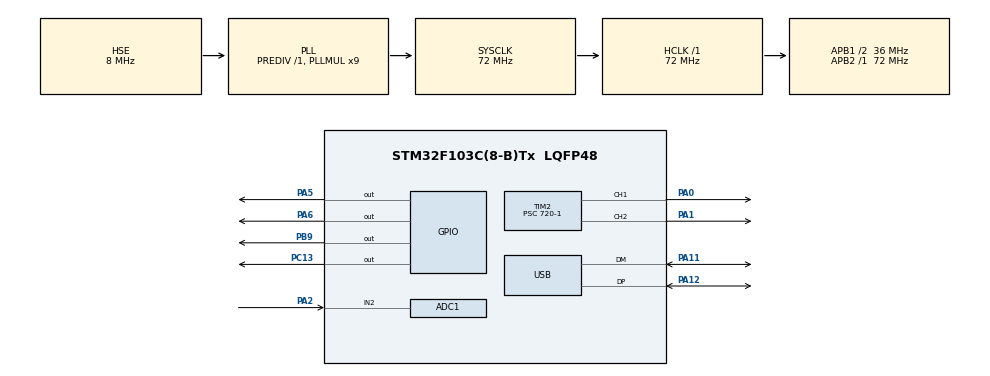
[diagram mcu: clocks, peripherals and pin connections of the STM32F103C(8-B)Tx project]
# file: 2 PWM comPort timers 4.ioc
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ADC1.Channel-13\#ChannelRegularConversion=ADC_CHANNEL_2
ADC1.ContinuousConvMode=DISABLE
ADC1.DataAlign=ADC_DATAALIGN_RIGHT
ADC1.DiscontinuousConvMode=DISABLE
ADC1.EnableAnalogWatchDog=false
ADC1.EnableRegularConversion=ENABLE
ADC1.ExternalTrigConv=ADC_SOFTWARE_START
ADC1.InjNumberOfConversion=0
ADC1.NbrOfConversion=1
ADC1.NbrOfConversionFlag=1
ADC1.Rank-13\#ChannelRegularConversion=1
ADC1.SamplingTime-13\#ChannelRegularConversion=ADC_SAMPLETIME_239CYCLES_5
ADC1.ScanConvMode=ADC_SCAN_DISABLE
ADC1.master=1
Dma.ADC1.0.Direction=DMA_PERIPH_TO_MEMORY
Dma.ADC1.0.Instance=DMA1_Channel1
Dma.ADC1.0.MemDataAlignment=DMA_MDATAALIGN_WORD
Dma.ADC1.0.MemInc=DMA_MINC_ENABLE
Dma.ADC1.0.Mode=DMA_NORMAL
Dma.ADC1.0.PeriphDataAlignment=DMA_PDATAALIGN_WORD
Dma.ADC1.0.PeriphInc=DMA_PINC_DISABLE
Dma.ADC1.0.Priority=DMA_PRIORITY_LOW
Dma.Request0=ADC1
Mcu.Family=STM32F1
Mcu.Name=STM32F103C(8-B)Tx
Mcu.Package=LQFP48
NVIC.ADC1_2_IRQn=true\:0\:0\:false\:false\:true\:true
NVIC.DMA1_Channel1_IRQn=true\:0\:0\:false\:false\:true\:false
NVIC.PriorityGroup=NVIC_PRIORITYGROUP_4
NVIC.TIM3_IRQn=true\:0\:0\:false\:false\:true\:true
NVIC.TIM4_IRQn=true\:0\:0\:false\:false\:true\:true
NVIC.USB_LP_CAN1_RX0_IRQn=true\:0\:0\:false\:false\:true\:false
PA0-WKUP.GPIO_Speed=GPIO_SPEED_FREQ_HIGH
PA0-WKUP.Signal=S_TIM2_CH1_ETR
PA1.GPIO_Speed=GPIO_SPEED_FREQ_HIGH
PA1.Signal=S_TIM2_CH2
PA11.Mode=Device
PA11.Signal=USB_DM
PA12.Mode=Device
PA12.Signal=USB_DP
PA2.Signal=ADCx_IN2
PA5.Signal=GPIO_Output
PA6.Signal=GPIO_Output
PB9.Signal=GPIO_Output
PC13-TAMPER-RTC.Signal=GPIO_Output
PD0-OSC_IN.Mode=HSE-External-Oscillator
PD0-OSC_IN.Signal=RCC_OSC_IN
PD1-OSC_OUT.Mode=HSE-External-Oscillator
PD1-OSC_OUT.Signal=RCC_OSC_OUT
ProjectManager.HeapSize=0x200
ProjectManager.StackSize=0x400
ProjectManager.TargetToolchain=MDK-ARM V5
RCC.ADCPresc=RCC_ADCPCLK2_DIV6
RCC.AHBFreq_Value=72000000
RCC.APB1CLKDivider=RCC_HCLK_DIV2
RCC.APB1Freq_Value=36000000
RCC.APB1TimFreq_Value=72000000
RCC.APB2Freq_Value=72000000
RCC.APB2TimFreq_Value=72000000
RCC.HCLKFreq_Value=72000000
RCC.PLLMUL=RCC_PLL_MUL9
RCC.SYSCLKFreq_VALUE=72000000
RCC.SYSCLKSource=RCC_SYSCLKSOURCE_PLLCLK
RCC.USBFreq_Value=48000000
RCC.USBPrescaler=RCC_USBCLKSOURCE_PLL_DIV1_5
SH.ADCx_IN2.0=ADC1_IN2,IN2
SH.S_TIM2_CH1_ETR.0=TIM2_CH1,PWM Generation1 CH1
SH.S_TIM2_CH2.0=TIM2_CH2,PWM Generation2 CH2
TIM2.Channel-PWM\ Generation1\ CH1=TIM_CHANNEL_1
TIM2.Channel-PWM\ Generation2\ CH2=TIM_CHANNEL_2
TIM2.OCFastMode_PWM-PWM\ Generation1\ CH1=TIM_OCFAST_ENABLE
TIM2.OCFastMode_PWM-PWM\ Generation2\ CH2=TIM_OCFAST_ENABLE
TIM2.Period=64-1
TIM2.Prescaler=720-1
TIM3.Period=1
TIM3.Prescaler=3600-1
TIM4.ClockDivision=TIM_CLOCKDIVISION_DIV1
TIM4.Period=1
TIM4.Prescaler=36000-1
USB_DEVICE.CLASS_NAME_FS=CDC
USB_DEVICE.VirtualMode=Cdc
USB_DEVICE.VirtualModeFS=Cdc_FS
VP_SYS_VS_ND.Mode=No_Debug
VP_TIM2_VS_ClockSourceINT.Mode=Internal
VP_TIM3_VS_ClockSourceINT.Mode=Internal
VP_TIM4_VS_ClockSourceINT.Mode=Internal
VP_USB_DEVICE_VS_USB_DEVICE_CDC_FS.Mode=CDC_FS
board=2 PWM comPort timers 4

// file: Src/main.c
/**
  ******************************************************************************
  * @file           : main.c
  * @brief          : Main program body
  ******************************************************************************
  * This notice applies to any and all portions of this file
  * that are not between comment pairs USER CODE BEGIN and
  * USER CODE END. Other portions of this file, whether
  * inserted by the user or by software development tools
  * are owned by their respective copyright owners.
  *
  * Copyright (c) 2020 STMicroelectronics International N.V.
  * All rights reserved.
  *
  * Redistribution and use in source and binary forms, with or without
  * modification, are permitted, provided that the following conditions are met:
  *
  * 1. Redistribution of source code must retain the above copyright notice,
  *    this list of conditions and the following disclaimer.
  * 2. Redistributions in binary form must reproduce the above copyright notice,
  *    this list of conditions and the following disclaimer in the documentation
  *    and/or other materials provided with the distribution.
  * 3. Neither the name of STMicroelectronics nor the names of other
  *    contributors to this software may be used to endorse or promote products
  *    derived from this software without specific written permission.
  * 4. This software, including modifications and/or derivative works of this
  *    software, must execute solely and exclusively on microcontroller or
  *    microprocessor devices manufactured by or for STMicroelectronics.
  * 5. Redistribution and use of this software other than as permitted under
  *    this license is void and will automatically terminate your rights under
  *    this license.
  *
  * THIS SOFTWARE IS PROVIDED BY STMICROELECTRONICS AND CONTRIBUTORS "AS IS"
  * AND ANY EXPRESS, IMPLIED OR STATUTORY WARRANTIES, INCLUDING, BUT NOT
  * LIMITED TO, THE IMPLIED WARRANTIES OF MERCHANTABILITY, FITNESS FOR A
  * PARTICULAR PURPOSE AND NON-INFRINGEMENT OF THIRD PARTY INTELLECTUAL PROPERTY
  * RIGHTS ARE DISCLAIMED TO THE FULLEST EXTENT PERMITTED BY LAW. IN NO EVENT
  * SHALL STMICROELECTRONICS OR CONTRIBUTORS BE LIABLE FOR ANY DIRECT, INDIRECT,
  * INCIDENTAL, SPECIAL, EXEMPLARY, OR CONSEQUENTIAL DAMAGES (INCLUDING, BUT NOT
  * LIMITED TO, PROCUREMENT OF SUBSTITUTE GOODS OR SERVICES; LOSS OF USE, DATA,
  * OR PROFITS; OR BUSINESS INTERRUPTION) HOWEVER CAUSED AND ON ANY THEORY OF
  * LIABILITY, WHETHER IN CONTRACT, STRICT LIABILITY, OR TORT (INCLUDING
  * NEGLIGENCE OR OTHERWISE) ARISING IN ANY WAY OUT OF THE USE OF THIS SOFTWARE,
  * EVEN IF ADVISED OF THE POSSIBILITY OF SUCH DAMAGE.
  *
  ******************************************************************************
  */
#include "main.h"
#include "stm32f1xx_hal.h"
#include "usb_device.h"

/* USER CODE BEGIN Includes */
#include "usbd_cdc_if.h"
#include "SinGenerator.h"
#include <math.h>

/* Overall description
    TIM2 generates PWM output from A0&A1|A0
    TIM3 takts sinGenerator
    TIM4 starts ADC from A2
*/
/* USER CODE END Includes */

ADC_HandleTypeDef hadc1;
DMA_HandleTypeDef hdma_adc1;

TIM_HandleTypeDef htim2;
TIM_HandleTypeDef htim3;
TIM_HandleTypeDef htim4;

/* USER CODE BEGIN PV */
/* Private variables ---------------------------------------------------------*/
int counter=0, teleCounter=0;
uint32_t sinTicksLastZero=0, sinTicksDelay=0;
//_Bool sinSignChange=0;
_Bool filterApFlag=1;//aperiodic filter 1/ts+1, where t=1/5*sinFreq
_Bool teleFlag=0;
_Bool telePhaseFlag=0;//enable or disable telemetry for phase
_Bool sinTicksDelayChanged=0;
int32_t inVal=0, inValPrev=0, inValZero=4096/2;
short unsigned int teleDAIgnore=0;
volatile int sinVal=0;
uint32_t ADC_Buf=0;
_Bool filterDiscrFlag=0;//discrete filter *discFilt state

volatile uint32_t ampValMax=0, ampValMin=4096;// amplitude
uint32_t amp2send=0;
uint32_t ampSendSinTCount=0;

volatile struct DiscrFilt *discFilt;
volatile struct SinGener *sinGen;
_Bool sinValChanged, sinSignChanged;

/*
//temp!!!
int vals[26];
volatile unsigned int indSin=0, indSinLen=26;
volatile unsigned int indTick, indTickMax;
double sinFreqRad=1, sinFreqHz, waveFreqHz;
unsigned int sinAmp;
char indQuad=0;//0:[0 pi/2] 1:[pi/2 pi] 2:[pi 3pi/4] 3:[3pi/4 2pi]
//temp
*/
/* USER CODE END PV */

void SystemClock_Config(void);
static void MX_GPIO_Init(void);
static void MX_DMA_Init(void);
static void MX_TIM2_Init(void);
static void MX_ADC1_Init(void);
static void MX_TIM3_Init(void);
static void MX_TIM4_Init(void);

void HAL_TIM_MspPostInit(TIM_HandleTypeDef *htim);

/* USER CODE BEGIN PFP */
/* Private function prototypes -----------------------------------------------*/
void Main_FilterApConfig(void);
void Main_FilterApSetState(_Bool state);
void Main_TeleSetState(_Bool state);
void Main_TelePhaseSetState(_Bool state);
void setPWM(uint16_t);
void Main_FindValZero(unsigned int timeMs);
void Main_delayUS(uint32_t us);
void Main_teleSendValue(void);
void Main_teleSendDA(void);
void Main_teleSendDAValue(void);
void Main_setPWMMode(int mode);

//void Main_FilterKihConfig(void);

//void Main_SinTimerReconfig(void);

_Bool Main_PWMPrescSet(unsigned int prescIn);
_Bool Main_FilterDiscrSetState(_Bool state);
void Main_setCustomSignal(double *arr, unsigned int len);
void Main_setDefaultSignal(void);
void Main_setPulseMin(double percent);
/* USER CODE END PFP */

int main(void)
{

  /* MCU Configuration----------------------------------------------------------*/

  /* Reset of all peripherals, Initializes the Flash interface and the Systick. */
  HAL_Init();

  /* Configure the system clock */
  SystemClock_Config();

  /* USER CODE BEGIN SysInit */
    /*
    CoreDebug->DEMCR |= CoreDebug_DEMCR_TRCENA_Msk;
    DWT->CYCCNT = 0;
    DWT->CTRL |= DWT_CTRL_CYCCNTENA_Msk;

    unsigned long t1 = DWT->CYCCNT;
    */
  /* USER CODE END SysInit */

  /* Initialize all configured peripherals */
  MX_GPIO_Init();
  MX_DMA_Init();
  MX_USB_DEVICE_Init();
  MX_TIM2_Init();
  MX_ADC1_Init();
  MX_TIM3_Init();
  MX_TIM4_Init();
  /* USER CODE BEGIN 2 */

    TIM2->CCR1=0;

    while(HAL_ADCEx_Calibration_Start(&hadc1) != HAL_OK);//- калибровка ацп

    //tim2 is used for PWM
    HAL_TIM_PWM_Start(&htim2, TIM_CHANNEL_1);
    HAL_TIM_PWM_Start(&htim2, TIM_CHANNEL_2);

    HAL_GPIO_WritePin(GPIOA, GPIO_PIN_6,GPIO_PIN_SET);//polarity of signal indicator

    //tim3 is used to generate sin wave
    sinGen=SinGener_new(TIM3, TIM2);
    discFilt=discrFilt_new();

    //tim4 is used for adc, and, therefore for filtation at each tick

    HAL_TIM_Base_Start_IT(&htim3);

    HAL_TIM_Base_Start_IT(&htim4);

    /*
    //temp!!
    double step=(acos(-1))/(2*indSinLen);// (pi/2)/len
    sinAmp=TIM2->ARR + 1;
    for(int i=0; i<indSinLen;++i){
        vals[i]=round(sinAmp*sin(step*i));
        vals[i]=abs(vals[i]);
    }
    sinFreqHz=sinFreqRad/(2*acos(-1));// v=w/(2pi)
    waveFreqHz=4*indSinLen*sinFreqHz;//4*len*v

    double timerFreqHz=((double)72e6)/
        (
            (TIM3->PSC+1)*
            (TIM3->ARR+1)*
            (TIM3->RCR+1)
        );

    indTickMax=round(timerFreqHz/waveFreqHz);
    //temp
    */

  /* USER CODE END 2 */

  /* Infinite loop */
  while (1)
  {

  }

}

void SystemClock_Config(void)
{

  RCC_OscInitTypeDef RCC_OscInitStruct;
  RCC_ClkInitTypeDef RCC_ClkInitStruct;
  RCC_PeriphCLKInitTypeDef PeriphClkInit;

    /**Initializes the CPU, AHB and APB busses clocks
    */
  RCC_OscInitStruct.OscillatorType = RCC_OSCILLATORTYPE_HSE;
  RCC_OscInitStruct.HSEState = RCC_HSE_ON;
  RCC_OscInitStruct.HSEPredivValue = RCC_HSE_PREDIV_DIV1;
  RCC_OscInitStruct.HSIState = RCC_HSI_ON;
  RCC_OscInitStruct.PLL.PLLState = RCC_PLL_ON;
  RCC_OscInitStruct.PLL.PLLSource = RCC_PLLSOURCE_HSE;
  RCC_OscInitStruct.PLL.PLLMUL = RCC_PLL_MUL9;
  if (HAL_RCC_OscConfig(&RCC_OscInitStruct) != HAL_OK)
  {
    _Error_Handler(__FILE__, __LINE__);
  }

    /**Initializes the CPU, AHB and APB busses clocks
    */
  RCC_ClkInitStruct.ClockType = RCC_CLOCKTYPE_HCLK|RCC_CLOCKTYPE_SYSCLK
                              |RCC_CLOCKTYPE_PCLK1|RCC_CLOCKTYPE_PCLK2;
  RCC_ClkInitStruct.SYSCLKSource = RCC_SYSCLKSOURCE_PLLCLK;
  RCC_ClkInitStruct.AHBCLKDivider = RCC_SYSCLK_DIV1;
  RCC_ClkInitStruct.APB1CLKDivider = RCC_HCLK_DIV2;
  RCC_ClkInitStruct.APB2CLKDivider = RCC_HCLK_DIV1;

  if (HAL_RCC_ClockConfig(&RCC_ClkInitStruct, FLASH_LATENCY_2) != HAL_OK)
  {
    _Error_Handler(__FILE__, __LINE__);
  }

  PeriphClkInit.PeriphClockSelection = RCC_PERIPHCLK_ADC|RCC_PERIPHCLK_USB;
  PeriphClkInit.AdcClockSelection = RCC_ADCPCLK2_DIV6;
  PeriphClkInit.UsbClockSelection = RCC_USBCLKSOURCE_PLL_DIV1_5;
  if (HAL_RCCEx_PeriphCLKConfig(&PeriphClkInit) != HAL_OK)
  {
    _Error_Handler(__FILE__, __LINE__);
  }

    /**Configure the Systick interrupt time
    */
  HAL_SYSTICK_Config(HAL_RCC_GetHCLKFreq()/1000);

    /**Configure the Systick
    */
  HAL_SYSTICK_CLKSourceConfig(SYSTICK_CLKSOURCE_HCLK);

  /* SysTick_IRQn interrupt configuration */
  HAL_NVIC_SetPriority(SysTick_IRQn, 0, 0);
}

/* ADC1 init function */
static void MX_ADC1_Init(void)
{

  ADC_ChannelConfTypeDef sConfig;

    /**Common config
    */
  hadc1.Instance = ADC1;
  hadc1.Init.ScanConvMode = ADC_SCAN_DISABLE;
  hadc1.Init.ContinuousConvMode = DISABLE;
  hadc1.Init.DiscontinuousConvMode = DISABLE;
  hadc1.Init.ExternalTrigConv = ADC_SOFTWARE_START;
  hadc1.Init.DataAlign = ADC_DATAALIGN_RIGHT;
  hadc1.Init.NbrOfConversion = 1;
  if (HAL_ADC_Init(&hadc1) != HAL_OK)
  {
    _Error_Handler(__FILE__, __LINE__);
  }

    /**Configure Regular Channel
    */
  sConfig.Channel = ADC_CHANNEL_2;
  sConfig.Rank = ADC_REGULAR_RANK_1;
  sConfig.SamplingTime = ADC_SAMPLETIME_239CYCLES_5;
  if (HAL_ADC_ConfigChannel(&hadc1, &sConfig) != HAL_OK)
  {
    _Error_Handler(__FILE__, __LINE__);
  }

}

/* TIM2 init function */
static void MX_TIM2_Init(void)
{

  TIM_ClockConfigTypeDef sClockSourceConfig;
  TIM_MasterConfigTypeDef sMasterConfig;
  TIM_OC_InitTypeDef sConfigOC;

  htim2.Instance = TIM2;
  htim2.Init.Prescaler = 720-1;
  htim2.Init.CounterMode = TIM_COUNTERMODE_UP;
  htim2.Init.Period = 64-1;
  htim2.Init.ClockDivision = TIM_CLOCKDIVISION_DIV1;
  htim2.Init.AutoReloadPreload = TIM_AUTORELOAD_PRELOAD_DISABLE;
  if (HAL_TIM_Base_Init(&htim2) != HAL_OK)
  {
    _Error_Handler(__FILE__, __LINE__);
  }

  sClockSourceConfig.ClockSource = TIM_CLOCKSOURCE_INTERNAL;
  if (HAL_TIM_ConfigClockSource(&htim2, &sClockSourceConfig) != HAL_OK)
  {
    _Error_Handler(__FILE__, __LINE__);
  }

  if (HAL_TIM_PWM_Init(&htim2) != HAL_OK)
  {
    _Error_Handler(__FILE__, __LINE__);
  }

  sMasterConfig.MasterOutputTrigger = TIM_TRGO_RESET;
  sMasterConfig.MasterSlaveMode = TIM_MASTERSLAVEMODE_DISABLE;
  if (HAL_TIMEx_MasterConfigSynchronization(&htim2, &sMasterConfig) != HAL_OK)
  {
    _Error_Handler(__FILE__, __LINE__);
  }

  sConfigOC.OCMode = TIM_OCMODE_PWM1;
  sConfigOC.Pulse = 0;
  sConfigOC.OCPolarity = TIM_OCPOLARITY_HIGH;
  sConfigOC.OCFastMode = TIM_OCFAST_ENABLE;
  if (HAL_TIM_PWM_ConfigChannel(&htim2, &sConfigOC, TIM_CHANNEL_1) != HAL_OK)
  {
    _Error_Handler(__FILE__, __LINE__);
  }

  if (HAL_TIM_PWM_ConfigChannel(&htim2, &sConfigOC, TIM_CHANNEL_2) != HAL_OK)
  {
    _Error_Handler(__FILE__, __LINE__);
  }

  HAL_TIM_MspPostInit(&htim2);

}

/* TIM3 init function */
static void MX_TIM3_Init(void)
{

  TIM_ClockConfigTypeDef sClockSourceConfig;
  TIM_MasterConfigTypeDef sMasterConfig;

  htim3.Instance = TIM3;
  htim3.Init.Prescaler = 3600-1;
  htim3.Init.CounterMode = TIM_COUNTERMODE_UP;
  htim3.Init.Period = 1;
  htim3.Init.ClockDivision = TIM_CLOCKDIVISION_DIV1;
  htim3.Init.AutoReloadPreload = TIM_AUTORELOAD_PRELOAD_DISABLE;
  if (HAL_TIM_Base_Init(&htim3) != HAL_OK)
  {
    _Error_Handler(__FILE__, __LINE__);
  }

  sClockSourceConfig.ClockSource = TIM_CLOCKSOURCE_INTERNAL;
  if (HAL_TIM_ConfigClockSource(&htim3, &sClockSourceConfig) != HAL_OK)
  {
    _Error_Handler(__FILE__, __LINE__);
  }

  sMasterConfig.MasterOutputTrigger = TIM_TRGO_RESET;
  sMasterConfig.MasterSlaveMode = TIM_MASTERSLAVEMODE_DISABLE;
  if (HAL_TIMEx_MasterConfigSynchronization(&htim3, &sMasterConfig) != HAL_OK)
  {
    _Error_Handler(__FILE__, __LINE__);
  }

}

/* TIM4 init function */
static void MX_TIM4_Init(void)
{

  TIM_ClockConfigTypeDef sClockSourceConfig;
  TIM_MasterConfigTypeDef sMasterConfig;

  htim4.Instance = TIM4;
  htim4.Init.Prescaler = 36000-1;
  htim4.Init.CounterMode = TIM_COUNTERMODE_UP;
  htim4.Init.Period = 1;
  htim4.Init.ClockDivision = TIM_CLOCKDIVISION_DIV1;
  htim4.Init.AutoReloadPreload = TIM_AUTORELOAD_PRELOAD_DISABLE;
  if (HAL_TIM_Base_Init(&htim4) != HAL_OK)
  {
    _Error_Handler(__FILE__, __LINE__);
  }

  sClockSourceConfig.ClockSource = TIM_CLOCKSOURCE_INTERNAL;
  if (HAL_TIM_ConfigClockSource(&htim4, &sClockSourceConfig) != HAL_OK)
  {
    _Error_Handler(__FILE__, __LINE__);
  }

  sMasterConfig.MasterOutputTrigger = TIM_TRGO_RESET;
  sMasterConfig.MasterSlaveMode = TIM_MASTERSLAVEMODE_DISABLE;
  if (HAL_TIMEx_MasterConfigSynchronization(&htim4, &sMasterConfig) != HAL_OK)
  {
    _Error_Handler(__FILE__, __LINE__);
  }

}

static void MX_DMA_Init(void)
{
  /* DMA controller clock enable */
  __HAL_RCC_DMA1_CLK_ENABLE();

  /* DMA interrupt init */
  /* DMA1_Channel1_IRQn interrupt configuration */
  HAL_NVIC_SetPriority(DMA1_Channel1_IRQn, 0, 0);
  HAL_NVIC_EnableIRQ(DMA1_Channel1_IRQn);

}

/** Configure pins as
        * Analog
        * Input
        * Output
        * EVENT_OUT
        * EXTI
        * Free pins are configured automatically as Analog (this feature is enabled through
        * the Code Generation settings)
*/
static void MX_GPIO_Init(void)
{

  GPIO_InitTypeDef GPIO_InitStruct;

  /* GPIO Ports Clock Enable */
  __HAL_RCC_GPIOC_CLK_ENABLE();
  __HAL_RCC_GPIOD_CLK_ENABLE();
  __HAL_RCC_GPIOA_CLK_ENABLE();
  __HAL_RCC_GPIOB_CLK_ENABLE();

  /*Configure GPIO pin Output Level */
  HAL_GPIO_WritePin(GPIOC, GPIO_PIN_13, GPIO_PIN_RESET);

  /*Configure GPIO pin Output Level */
  HAL_GPIO_WritePin(GPIOA, GPIO_PIN_5|GPIO_PIN_6, GPIO_PIN_RESET);

  /*Configure GPIO pin Output Level */
  HAL_GPIO_WritePin(GPIOB, GPIO_PIN_9, GPIO_PIN_RESET);

  /*Configure GPIO pin : PC13 */
  GPIO_InitStruct.Pin = GPIO_PIN_13;
  GPIO_InitStruct.Mode = GPIO_MODE_OUTPUT_PP;
  GPIO_InitStruct.Speed = GPIO_SPEED_FREQ_LOW;
  HAL_GPIO_Init(GPIOC, &GPIO_InitStruct);

  /*Configure GPIO pins : PC14 PC15 */
  GPIO_InitStruct.Pin = GPIO_PIN_14|GPIO_PIN_15;
  GPIO_InitStruct.Mode = GPIO_MODE_ANALOG;
  HAL_GPIO_Init(GPIOC, &GPIO_InitStruct);

  /*Configure GPIO pins : PA3 PA4 PA7 PA8
                           PA9 PA10 PA13 PA14
                           PA15 */
  GPIO_InitStruct.Pin = GPIO_PIN_3|GPIO_PIN_4|GPIO_PIN_7|GPIO_PIN_8
                          |GPIO_PIN_9|GPIO_PIN_10|GPIO_PIN_13|GPIO_PIN_14
                          |GPIO_PIN_15;
  GPIO_InitStruct.Mode = GPIO_MODE_ANALOG;
  HAL_GPIO_Init(GPIOA, &GPIO_InitStruct);

  /*Configure GPIO pins : PA5 PA6 */
  GPIO_InitStruct.Pin = GPIO_PIN_5|GPIO_PIN_6;
  GPIO_InitStruct.Mode = GPIO_MODE_OUTPUT_PP;
  GPIO_InitStruct.Speed = GPIO_SPEED_FREQ_LOW;
  HAL_GPIO_Init(GPIOA, &GPIO_InitStruct);

  /*Configure GPIO pins : PB0 PB1 PB2 PB10
                           PB11 PB12 PB13 PB14
                           PB15 PB3 PB4 PB5
                           PB6 PB7 PB8 */
  GPIO_InitStruct.Pin = GPIO_PIN_0|GPIO_PIN_1|GPIO_PIN_2|GPIO_PIN_10
                          |GPIO_PIN_11|GPIO_PIN_12|GPIO_PIN_13|GPIO_PIN_14
                          |GPIO_PIN_15|GPIO_PIN_3|GPIO_PIN_4|GPIO_PIN_5
                          |GPIO_PIN_6|GPIO_PIN_7|GPIO_PIN_8;
  GPIO_InitStruct.Mode = GPIO_MODE_ANALOG;
  HAL_GPIO_Init(GPIOB, &GPIO_InitStruct);

  /*Configure GPIO pin : PB9 */
  GPIO_InitStruct.Pin = GPIO_PIN_9;
  GPIO_InitStruct.Mode = GPIO_MODE_OUTPUT_PP;
  GPIO_InitStruct.Speed = GPIO_SPEED_FREQ_LOW;
  HAL_GPIO_Init(GPIOB, &GPIO_InitStruct);

}

/* USER CODE BEGIN 4 */
void Main_Sin_SetFreq(double freqIn){
    sinGener_setSinFreqRad(sinGen, freqIn);

    if(filterApFlag){
       Main_FilterApConfig();
    }

    teleDAIgnore++;//one more time don't send amp and delay
}

void HAL_TIM_PeriodElapsedCallback(TIM_HandleTypeDef *htim){
        if(htim->Instance == TIM3){//timer 3 used for setting output voltage level
            _Bool signPositive;
            sinVal=sinGener_tick(sinGen, &sinValChanged, &sinSignChanged, &signPositive);

            if(!sinValChanged)return;

            if(sinSignChanged){//sign changed
                HAL_GPIO_WritePin(GPIOA, GPIO_PIN_6,signPositive?GPIO_PIN_SET:GPIO_PIN_RESET);//pin a6 indicates sign of signal
                HAL_GPIO_WritePin(GPIOA, GPIO_PIN_5,signPositive?GPIO_PIN_RESET:GPIO_PIN_SET);//pin a5 is inverted logical value of pin a6

                if(signPositive){
                    sinTicksLastZero=HAL_GetTick();

                //amplitude to be sended
                    amp2send=(ampValMax-ampValMin)/2;
                    ampValMax=0;
                    ampValMin=4096;
                }
            }
            return;
            /*
            //send cur sinVal
            char MesData[5];
                MesData[0]='s';
                for(int i=1;i<4;++i){
                    MesData[4-i]=sinVal%10 + '0';
                    sinVal/=10;
                }
                MesData[4]='\n';
                CDC_Transmit_FS(MesData,5);
            return;
            */
        }

        if(htim->Instance == TIM4){//timer 4 used for adc
             ++counter;
            if(counter>1){
                HAL_ADC_Start_DMA(&hadc1, &ADC_Buf, 1);
                HAL_GPIO_TogglePin(GPIOB,GPIO_PIN_9);
                counter=0;
            }
             return;
        }

}

void HAL_ADC_ConvCpltCallback(ADC_HandleTypeDef* hadc){
  if(hadc->Instance==ADC1){
      inVal=ADC_Buf-inValZero;

      if(filterApFlag){
        //Простой цифровой фильтр
        inVal=inValPrev + (20*(inVal - inValPrev)>>8);// Na + Nb = 2^k (Nb = 256 — Na); Y(n) = (Na*Y(n-1) + Nb*X(n)) >> k
        //

      }

      if(filterDiscrFlag){
        inVal=discrFilt_filt(discFilt,inVal);
      }

      if(inVal>ampValMax){
          ampValMax=abs(inVal);
      }

      if(inVal<ampValMin){
          ampValMin=inVal;
      }

      if(((inVal<0)!=(inValPrev<=0))&&inVal>0){//input sign changed to positive
          //sinTicksDelay=sinTCount*sinTiksPerTCount-sinTicksLastZero;
          sinTicksDelay=HAL_GetTick()-sinTicksLastZero;
          sinTicksDelayChanged=1;
          /*
          if(sinTCount > 2000 + ampSendSinTCount){//should be an one fouth part of a cycle, doesn't work yet
            amp2send=ampVal;
            //ampVal=0;
          }*/
      }

      inValPrev=inVal;
      ++teleCounter;

      if(teleCounter<10){//10^2 Гц частота телеметрии
          return;
      }

      if(telePhaseFlag||teleFlag){//if we have sth to send
        HAL_GPIO_TogglePin(GPIOC,GPIO_PIN_13);
        teleCounter=0;
      }
      else {
          return;
      }

      if(sinTicksDelayChanged&&telePhaseFlag){
              sinTicksDelayChanged=0;
          if(teleDAIgnore){
            --teleDAIgnore;
            if(teleFlag){
              Main_teleSendDAValue();
              return;
            }
          }

          if(teleFlag){
              Main_teleSendDAValue();
              return;
          }
              //transmit phase delay in char format with 'd' prefix and adc val also
              Main_teleSendDA();
              return;
        }

        if(teleFlag){
            Main_teleSendValue();
            return;
        }
  }
}

void Main_teleSendValue(){
    int i;
        uint8_t MesData[7];
        int32_t val=(int) round(inVal);
        MesData[6]='\0';
        MesData[5]='\n';
        MesData[0]=(val>=0)?'+':'-';
        val=abs(val);
        for(i=4;i>=1;--i){
            MesData[i]=val%10 + '0';
            val/=10;
        }
        CDC_Transmit_FS(MesData,strlen(MesData));
}

void Main_teleSendDA(){
    //transmit phase delay and amp in char format with 'd' prefix
    if(amp2send==0) return;

    int i;
    uint8_t MesData[18];
    int32_t val=sinTicksDelay;
    MesData[10]='\n';
    if(val>999999999){
        MesData[0]='D';
    }else{
        MesData[0]='d';
    }

    val=abs(val);
    for(i=9;i>=1;--i){
        MesData[i]=val%10 + '0';
        val/=10;
    }

    val=amp2send;
    MesData[17]='\0';
    MesData[16]='\n';
    if(val>9999){
        MesData[11]='A';
      }else{
        MesData[11]='a';
      }
    for(i=15;i>=12;--i){
        MesData[i]=val%10 + '0';
        val/=10;
    }
    CDC_Transmit_FS(MesData,strlen(MesData));

    amp2send=0;
}

void Main_teleSendDAValue(){
//transmit phase delay and amp in char format with 'd' prefix
    if(amp2send==0) {
        Main_teleSendValue();
        return;
    }

    int i;
    uint8_t MesData[24];//18];
    int32_t val=sinTicksDelay;
    MesData[10]='\n';
    if(val>999999999){
        MesData[0]='D';
    }else{
        MesData[0]='d';
    }

    val=abs(val);
    for(i=9;i>=1;--i){
        MesData[i]=val%10 + '0';
        val/=10;
    }

    val=amp2send;
    //MesData[17]='\0';
    MesData[16]='\n';
    if(val>9999){
        MesData[11]='A';
      }else{
        MesData[11]='a';
      }
    for(i=15;i>=12;--i){
        MesData[i]=val%10 + '0';
        val/=10;
    }

    val=(int) round(inVal);
    MesData[23]='\0';
    MesData[22]='\n';
    MesData[17]=(val>=0)?'+':'-';
    val=abs(val);
    for(i=21;i>=18;--i){
        MesData[i]=val%10 + '0';
        val/=10;
    }
    CDC_Transmit_FS(MesData,strlen(MesData));

    amp2send=0;
}

void Main_FilterApConfig(void){
    return;
}

void Main_FilterApSetState(_Bool state){
    if(state){
        Main_FilterApConfig();
        Main_FilterDiscrSetState(0);
    }
    filterApFlag=state;
}

_Bool Main_FilterDiscrSetState(_Bool state){
    if(!discrFilt_isReady(discFilt)) return 0;

    if(state){
        discrFilt_start(discFilt);
        Main_FilterApSetState(0);
    }
    else{
        discrFilt_stop(discFilt);
    }
    filterDiscrFlag=state;
    return 1;
}

void Main_TeleSetState(_Bool state){
    //HAL_GPIO_TogglePin(GPIOC,GPIO_PIN_13);
    HAL_GPIO_WritePin(GPIOC, GPIO_PIN_13,state?GPIO_PIN_SET:GPIO_PIN_RESET);//turns off LED on disabling telemetry
    teleFlag=state;
}

void Main_TelePhaseSetState(_Bool state){
    //HAL_GPIO_TogglePin(GPIOC,GPIO_PIN_13);
    HAL_GPIO_WritePin(GPIOC, GPIO_PIN_13,state?GPIO_PIN_SET:GPIO_PIN_RESET);//turns off LED on disabling telemetry
    telePhaseFlag=state;
}

_Bool Main_PWMPrescSet(unsigned int prescIn){
    if(prescIn>0xFFFF){
        return 0;
    }
    if ((HAL_TIM_PWM_Stop(&htim2, TIM_CHANNEL_1)!= HAL_OK)||
        (HAL_TIM_PWM_Stop(&htim2, TIM_CHANNEL_2)!= HAL_OK))
    {
      _Error_Handler(__FILE__, __LINE__);
        return 0;
    }

    htim2.Init.Prescaler = prescIn;

    if (HAL_TIM_Base_Init(&htim2) != HAL_OK)
  {
    _Error_Handler(__FILE__, __LINE__);
    return 0;
  }
   if ((HAL_TIM_PWM_Start(&htim2, TIM_CHANNEL_1) != HAL_OK)||
       (HAL_TIM_PWM_Start(&htim2, TIM_CHANNEL_2) != HAL_OK))
  {
    _Error_Handler(__FILE__, __LINE__);
    return 0;
  }
    return 1;
}

void setPWM(uint16_t pulse){
    switch(sinGener_getModeOut(sinGen)){
        case SG_SINGLEOUT:
            TIM2->CCR1=pulse;
            break;
        case SG_ALTERNATEOUT:
            TIM2->CCR1=pulse;
            TIM2->CCR2=pulse;
        break;
    }

    //TIM2->CCR2=sinVal;

    //the same
    /*
 HAL_TIM_PWM_Stop(&htim2, TIM_CHANNEL_1); // stop generation of pwm
 HAL_TIM_PWM_Stop(&htim2, TIM_CHANNEL_2);
 TIM_OC_InitTypeDef sConfigOC;

 sConfigOC.OCMode = TIM_OCMODE_PWM1;
 sConfigOC.Pulse = pulse; // set the pulse duration
 sConfigOC.OCPolarity = TIM_OCPOLARITY_HIGH;
 sConfigOC.OCFastMode = TIM_OCFAST_ENABLE;
 HAL_TIM_PWM_ConfigChannel(&htim2, &sConfigOC, TIM_CHANNEL_1);
 HAL_TIM_PWM_ConfigChannel(&htim2, &sConfigOC, TIM_CHANNEL_2);
 HAL_TIM_PWM_Start(&htim2, TIM_CHANNEL_1); // start pwm generation
 HAL_TIM_PWM_Start(&htim2, TIM_CHANNEL_2);
    */
}

void Main_FindValZero(unsigned int timeMs){
    HAL_TIM_Base_Stop_IT(&htim3);//sin wave
    HAL_TIM_Base_Stop_IT(&htim4);//telemetry & filtration

    HAL_ADC_Stop_DMA(&hadc1);
    HAL_ADC_Stop(&hadc1);

    //while(HAL_ADC_GetState(&hadc1)!=HAL_ADC_STATE_RESET);

    double mean=0,// cumulative average
    prev_mean, cur;
    unsigned int i=1;
    uint32_t cyclesStop, cyclesCur=0;

    setPWM(0);

    do{
        HAL_ADC_Start(&hadc1);
        HAL_ADC_PollForConversion(&hadc1,100);
        cur=HAL_ADC_GetValue(&hadc1);
        prev_mean=mean;
        mean=mean+(cur-mean)/i;
        ++i;
        Main_delayUS(1000);
    }while(abs(mean-prev_mean)>1);

    mean=0;
    i=1;

    for(int j=0; j<=1;++j){
        cyclesStop=timeMs/2;
        HAL_GPIO_WritePin(GPIOA, GPIO_PIN_6,(j==0)?GPIO_PIN_SET:GPIO_PIN_RESET);//pin a6 indicates sign of signal
        do{
            HAL_ADC_Start(&hadc1);
            HAL_ADC_PollForConversion(&hadc1,100);
            cur=HAL_ADC_GetValue(&hadc1);
            mean=mean+(cur-mean)/i;
            ++i;
            Main_delayUS(1000);
            ++cyclesCur;
        }while(cyclesCur<=cyclesStop);
        HAL_ADC_Stop(&hadc1);
        cyclesCur=0;
        //i1=0;
    }
    inValZero=round(mean);

    uint32_t temp=inValZero;
    uint8_t ans[]="in zero value: 4096\n";
    int len=strlen(ans);
    for(int j=len-2;j>(len-6);--j){
        ans[j]=temp%10 + '0';
        temp=temp/10;
    }
    ans[strlen(ans)-1]='\n';
    CDC_Transmit_FS(ans, len);

    //MX_ADC1_Init();
    HAL_TIM_Base_Start_IT(&htim3);//sin wave
    HAL_TIM_Base_Start_IT(&htim4);//telemetry & filtration
}

void Main_setModeOutput(int mode){
    sinGener_pause(sinGen);
    sinGener_setModeOut(sinGen, (enum SinGener_ModeOutput)(mode));
    sinGener_resume(sinGen);
}

void Main_setCustomSignal(double *arr, unsigned int len){
    sinGener_setCusSignal(sinGen, arr, len);
}

void Main_setDefaultSignal(void){
    sinGener_setDefSignal(sinGen);
}

void Main_setPulseMin(double percent){
    sinGener_setPulseMin(sinGen, percent);
}

#pragma push
#pragma O0
void Main_delayUS(uint32_t us) {
	volatile uint32_t counter = 7*us;
	while(counter--);
}
#pragma pop
/* USER CODE END 4 */

void _Error_Handler(char *file, int line)
{
  while(1)
  {
  }
}

/************************ (C) COPYRIGHT STMicroelectronics *****END OF FILE****/
